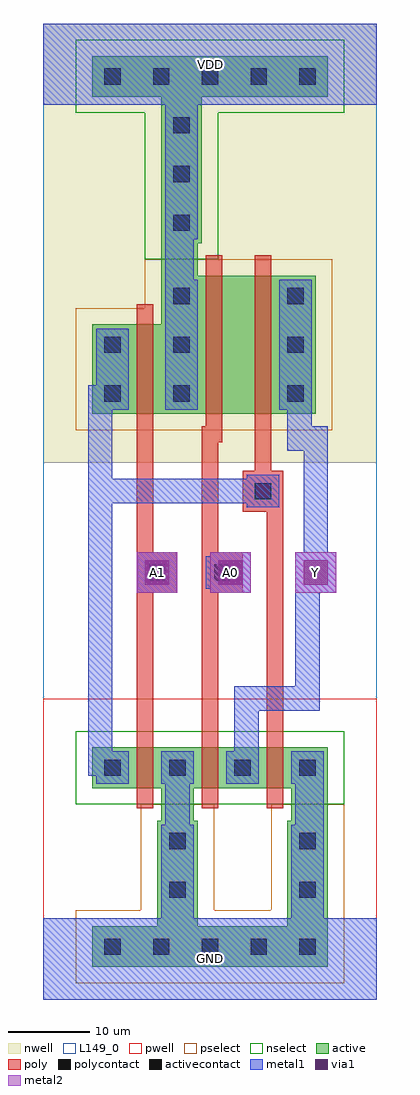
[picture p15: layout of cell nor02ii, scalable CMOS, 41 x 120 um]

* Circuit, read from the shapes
.subckt nor02ii A0 A1 GND VDD Y
M1 GND A1 n1 GND nfet w=5u l=2u
M2 Y A0 GND GND nfet w=5u l=2u
M3 GND n1 Y GND nfet w=5u l=2u
M4 VDD A1 n1 VDD pfet w=11u l=2u
M5 n2 A0 VDD VDD pfet w=17u l=2u
M6 Y n1 n2 VDD pfet w=17u l=2u
.ends

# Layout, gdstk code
import gdstk
lib = gdstk.Library(unit=1e-6, precision=1e-09)
def R(c, l, rs):  # rectangles x0, y0, x1, y1
    for r in rs: c.add(gdstk.rectangle(r[:2], r[2:], *l))
def A(c, l, x, y, w, h, nx, ny, dx, dy):  # array of equal rectangles
    R(c, l, [(x+i*dx, y+j*dy, x+i*dx+w, y+j*dy+h) for i in range(nx) for j in range(ny)])
def P(c, l, *ps):  # polygons
    for p in ps: c.add(gdstk.Polygon(p, *l))
pwell = (41, 0)
nwell = (42, 0)
active = (43, 0)
pselect = (44, 0)
nselect = (45, 0)
poly = (46, 0)
polycontact = (47, 0)
activecontact = (48, 0)
metal1 = (49, 0)
via1 = (50, 0)
metal2 = (51, 0)
L149_0 = (149, 0)

via = lib.new_cell('via')
R(via, metal1, [(-2.5,-2.5,2.5,2.5)])
R(via, via1, [(-1.5,-1.5,1.5,1.5)])
R(via, metal2, [(-2.5,-2.5,2.5,2.5)])

nor02ii = lib.new_cell('nor02ii')
R(nor02ii, pwell, [(0,0,41,11), (0,10,41,37), (0,20,41,37)])
R(nor02ii, nwell, [(0,66,41,110), (0,109,41,120)])
P(nor02ii, nwell, [(39.5,66),(39.5,95),(8.5,95),(8.5,89),(0,89),(0,66)])
R(nor02ii, active, [(6,4,35,9), (14,9,19,22), (30,9,35,22), (14.5,22,18.5,26), (30.5,22,35,26), (6,26,11.5,31), (6,26,35,31), (29.5,26,35,31), (6,72,11.5,83), (28,72,33.5,89), (14.5,89,19,93), (14.5,93,19.5,111), (6,111,35,116)])
P(nor02ii, active, [(33.5,72),(33.5,89),(14.5,89),(14.5,83),(6,83),(6,72)])
R(nor02ii, pselect, [(4,2,37,11), (12,11,21,24), (28,11,37,24)])
P(nor02ii, pselect, [(35.5,70),(35.5,91),(12.5,91),(12.5,85),(4,85),(4,70)])
R(nor02ii, nselect, [(4,24,37,33), (12.5,91,21.5,109), (4,109,37,118)])
A(nor02ii, poly, 11.5, 23.5, 2, 2.5, 3, 2, 8, 7.5)
A(nor02ii, poly, 11.5, 26, 2, 5, 3, 1, 8, 0)
R(nor02ii, poly, [(11.5,50,16.5,55), (19.5,50,24.5,55), (24.5,60,29.5,65), (11.5,69.5,13.5,72), (20,69.5,22,72), (26,69.5,28,72), (11.5,72,13.5,83), (20,72,22,89), (26,72,28,89), (11.5,83,13.5,85.5), (20,89,22,91.5), (26,89,28,91.5)])
R(nor02ii, polycontact, [(13,51.5,15,53.5), (21,51.5,23,53.5), (26,61.5,28,63.5)])
A(nor02ii, activecontact, 7.5, 5.5, 2, 2, 5, 2, 6, 107)
A(nor02ii, activecontact, 7.5, 27.5, 2, 2, 4, 1, 8, 0)
A(nor02ii, activecontact, 16, 73.5, 2, 2, 1, 3, 0, 6)
A(nor02ii, activecontact, 30, 73.5, 2, 2, 1, 3, 0, 6)
A(nor02ii, activecontact, 16, 94.5, 2, 2, 1, 3, 0, 6)
R(nor02ii, activecontact, [(15.5,12.5,17.5,14.5), (31.5,12.5,33.5,14.5), (15.5,18.5,17.5,20.5), (31.5,18.5,33.5,20.5), (7.5,73.5,9.5,75.5), (7.5,79.5,9.5,81.5)])
A(nor02ii, metal1, 6.5, 26.5, 4, 4, 4, 1, 8, 0)
R(nor02ii, metal1, [(0,0,41,10), (0,0,41,10), (14.5,10,18.5,21.5), (30.5,10,34.5,21.5), (15,21.5,18,26.5), (31,21.5,34.5,26.5), (12,50.5,16,54.5), (20,50.5,24,54.5), (25,60.5,29,64.5), (6.5,72.5,10.5,82.5), (15,72.5,19,88.5), (29,72.5,33,88.5), (15,88.5,18.5,93.5), (15,93.5,19,110), (0,110,41,120), (0,110,41,120)])
R(nor02ii, metal2, [(11.5,50,16.5,55), (20.5,50,25.5,55), (31,50,36,55)])
R(nor02ii, L149_0, [(0,0,41,120)])
nor02ii.add(gdstk.FlexPath([(33.5,55),(33.5,69),(31.5,69),(31.5,72.5)], 3, ends="flush", simple_path=True, layer=49, datatype=0))  # metal1
nor02ii.add(gdstk.FlexPath([(32.5,50),(32.5,37),(25,37),(25,30.5)], 3, ends="flush", simple_path=True, layer=49, datatype=0))  # metal1
nor02ii.add(gdstk.FlexPath([(7,75.5),(7,27.5)], 3, ends="flush", simple_path=True, layer=49, datatype=0))  # metal1
nor02ii.add(gdstk.FlexPath([(25,62.5),(8.5,62.5)], 3, ends="flush", simple_path=True, layer=49, datatype=0))  # metal1
nor02ii.add(gdstk.FlexPath([(12.5,69.5),(12.5,33.5)], 2, ends="flush", simple_path=True, layer=46, datatype=0))  # poly
nor02ii.add(gdstk.FlexPath([(22,69.5),(20.5,69.5),(20.5,33.5)], 2, ends="flush", simple_path=True, layer=46, datatype=0))  # poly
nor02ii.add(gdstk.FlexPath([(28.5,60),(28.5,33.5)], 2, ends="flush", simple_path=True, layer=46, datatype=0))  # poly
nor02ii.add(gdstk.FlexPath([(27,69.5),(27,65)], 2, ends="flush", simple_path=True, layer=46, datatype=0))  # poly
nor02ii.add(gdstk.Reference(via, (14,52.5)))
nor02ii.add(gdstk.Reference(via, (33.5,52.5)))
nor02ii.add(gdstk.Reference(via, (23,52.5)))
nor02ii.add(gdstk.Label('GND', (20.5,5), layer=2, texttype=0))
nor02ii.add(gdstk.Label('VDD', (20.5,115), layer=2, texttype=0))
nor02ii.add(gdstk.Label('A1', (14,52.5), layer=3, texttype=0))
nor02ii.add(gdstk.Label('Y', (33.5,52.5), layer=3, texttype=0))
nor02ii.add(gdstk.Label('A0', (23,52.5), layer=3, texttype=0))
nor02ii.add(gdstk.Label('GND', (20.5,5), layer=2, texttype=0))
nor02ii.add(gdstk.Label('VDD', (20.5,115), layer=2, texttype=0))
nor02ii.add(gdstk.Label('A1', (14,52.5), layer=3, texttype=0))
nor02ii.add(gdstk.Label('Y', (33.5,52.5), layer=3, texttype=0))
nor02ii.add(gdstk.Label('A0', (23,52.5), layer=3, texttype=0))

lib.write_gds('nor02ii.gds')
